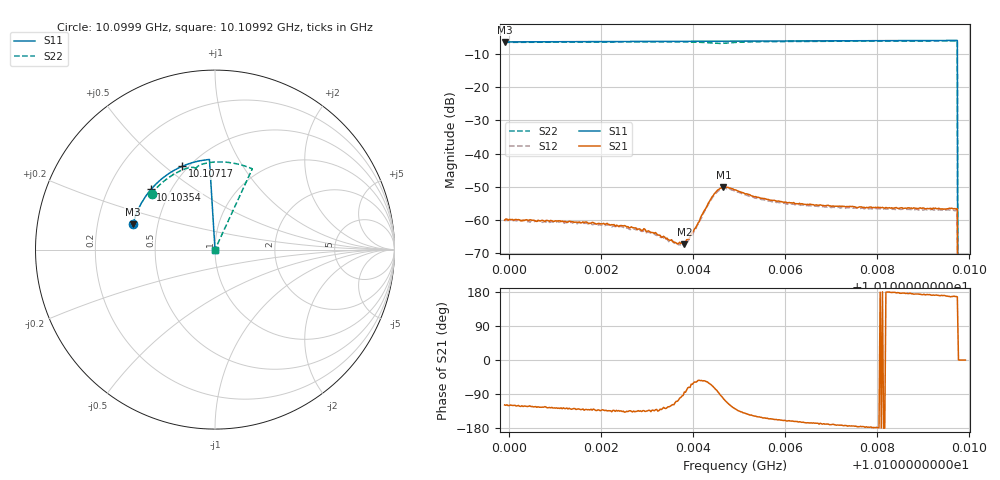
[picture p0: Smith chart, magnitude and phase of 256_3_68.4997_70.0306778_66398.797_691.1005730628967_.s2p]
#  HZ  S  RI  R  50.00
! Rohde & Schwarz Vector Network Analyzer
! Rohde-Schwarz,ZNB20-2Port,1311601062101988,3.16
! Created: UTC 3/20/2024, 5:00:04 PM
! freq[Hz]  re:S11  im:S11  re:S21  im:S21  re:S12  im:S12  re:S22  im:S22
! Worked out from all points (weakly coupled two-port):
!   401 points, 10.0999 GHz to 10.10992 GHz, reference 50 ohm
!   highest |S21| = -50.11 dB at 10.10466 GHz (marker M1); lowest = -67.3 dB at 10.10381 GHz (marker M2)
!   lowest |S11| = -6.4 dB at 10.0999 GHz (marker M3), VSWR 2.83, Z = 18 + j6.53 ohm
!   |S11| at or under -10 dB: 10.10975 GHz to end of sweep
!   |S22| runs from - to -6.1 dB; largest |S21 - S12| = 0.00031
!   S11 on the Smith chart (normalised r, x): 10.0999 GHz: 0.36, +0.13; 10.10354 GHz: 0.39, +0.34; 10.10717 GHz: 0.47, +0.58; 10.10992 GHz: 1.00, +0.00
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1.0099905e10  -0.4572 0.14  -0.000474 -0.000874  -0.00041 -0.000887  -0.3537 0.3109
1.0101583e10  -0.4222 0.236  -0.000591 -0.000691  -0.000521 -0.000745  -0.2769 0.3872
1.0102485e10  -0.3953 0.2838  -0.000574 -0.000576  -0.000511 -0.000585  -0.2283 0.4206
1.0102986e10  -0.378 0.3088  -0.00047 -0.000469  -0.000425 -0.000481  -0.1989 0.4364
1.0103261e10  -0.3679 0.3221  -0.000407 -0.000428  -0.000335 -0.000436  -0.1819 0.4441
1.0103537e10  -0.3573 0.335  -0.000244 -0.000439  -0.000215 -0.000442  -0.1639 0.4509
1.0103712e10  -0.3502 0.3431  -8.5e-05 -0.000455  -5.98e-05 -0.00043  -0.1518 0.4546
1.0103813e10  -0.346 0.3475  4.06e-05 -0.000427  4.4e-05 -0.000434  -0.1446 0.4563
1.0103863e10  -0.344 0.3497  9.46e-05 -0.000495  0.000113 -0.000434  -0.1409 0.457
1.0104013e10  -0.3379 0.3565  0.00034 -0.0006  0.000359 -0.000543  -0.1295 0.4583
1.0104263e10  -0.327 0.3673  0.000813 -0.00118  0.000901 -0.00107  -0.1099 0.4552
1.0104439e10  -0.3193 0.3744  0.000787 -0.00218  0.000937 -0.00204  -0.1017 0.4469
1.0104564e10  -0.3138 0.3794  0.000145 -0.00288  0.00039 -0.00273  -0.1029 0.4425
1.0104664e10  -0.3093 0.3835  -0.000659 -0.00305  -0.000383 -0.00294  -0.1057 0.4442
1.0104915e10  -0.2978 0.3933  -0.00178 -0.0022  -0.00155 -0.00225  -0.1012 0.4593
1.0105691e10  -0.26 0.4216  -0.0018 -0.000835  -0.00166 -0.00093  -0.0498 0.4821
1.0106593e10  -0.2132 0.4495  -0.00166 -0.000395  -0.00156 -0.000514  0.0103 0.4885
1.0107169e10  -0.1818 0.4645  -0.00159 -0.000225  -0.00152 -0.000382  0.0478 0.4878
1.0108271e10  -0.1188 0.4865  -0.00153 1.76e-05  -0.00146 -0.000111  0.118 0.4785
1.0109699e10  -0.034 0.502  -0.00145 0.000315  -0.00137 0.000155  0.2049 0.4513
1.0109825e10  0 0  0 0  0 0  0 0
1.0109925e10  0 0  0 0  0 0  0 0
